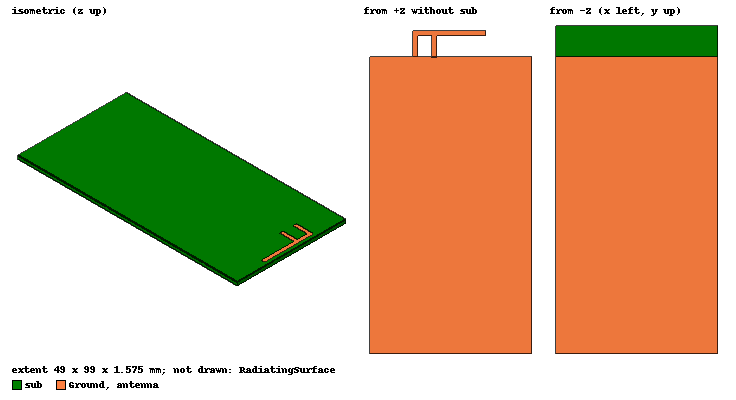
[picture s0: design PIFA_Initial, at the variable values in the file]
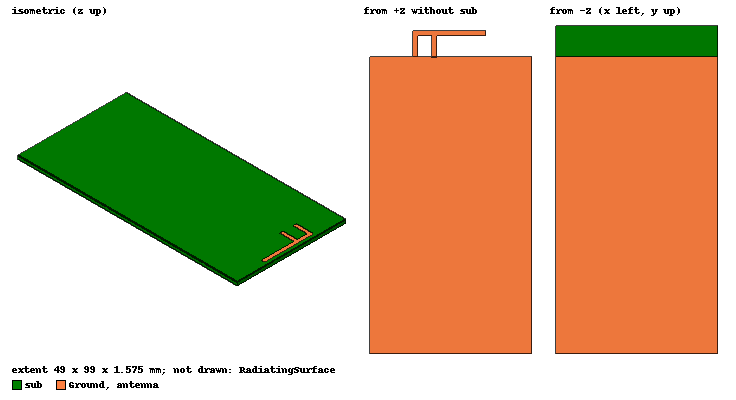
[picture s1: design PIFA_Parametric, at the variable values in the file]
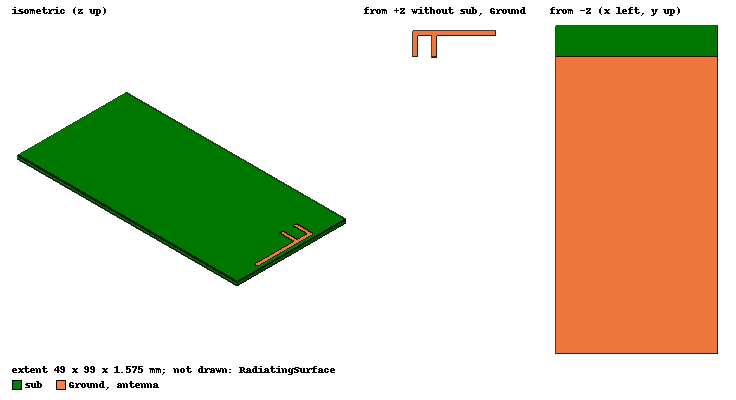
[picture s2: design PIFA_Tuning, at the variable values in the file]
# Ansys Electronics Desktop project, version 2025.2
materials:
  vacuum: permittivity=1
  Duroid (tm): permittivity=2.2 dielectric_loss_tangent=0.0009
  proje_substrat: permittivity=2.2

design PIFA_Initial (HFSS, HFSS Modal Network, model units mm)
options: Allow_Material_Override Save_Adaptive_support_files
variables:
  # --Antenna Dimensions
  Length1 = 2.214cm
  Length2 = 0.79cm
  Antenna_Trace_Width = 0.15cm
  Antenna_Offset = 0.44cm
  # --Substrate Dimensions
  subH = 0.1575cm
  subX = 4.9cm
  subY = 9.9cm
  # --Feed Dimensions
  Feed_Offset = -0.49cm
  Feed_Length = 0.015cm
  Feed_Width = 0.148cm
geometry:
  sub [proje_substrat] = box(corner=(-subX/2, -subY+Length2+Antenna_Trace_Width, 0mm), size=(subX, subY, -subH))
  Ground = rectangle(corner=(-subX/2, -subY+Length2+Antenna_Trace_Width, -subH), x_size=subX, y_size=subY-(Length2+Antenna_Trace_Width))
  NewObject_K5QUVR = rectangle(corner=(-Antenna_Trace_Width/2+Feed_Offset, 0mm, 0mm), x_size=Antenna_Trace_Width, y_size=Length2)
  NewObject_ARCBLV = rectangle(corner=(-Antenna_Trace_Width/2-Antenna_Offset+Feed_Offset, 0mm, 0mm), x_size=-Antenna_Trace_Width, y_size=Length2)
  NewObject_FZCV4E = rectangle(corner=(-Antenna_Trace_Width/2-Antenna_Offset+Feed_Offset, 0mm, 0mm), z_size=-subH, x_size=-Antenna_Trace_Width)
  antenna = rectangle(corner=(-Antenna_Trace_Width/2-Antenna_Offset-Antenna_Trace_Width+Feed_Offset, Length2, 0mm), x_size=Length1, y_size=-Antenna_Trace_Width)
  antenna.unite(NewObject_ARCBLV, NewObject_K5QUVR, NewObject_FZCV4E)
  microstrip_feed = rectangle(corner=(-Feed_Width/2+Feed_Offset, 0mm, 0mm), x_size=Feed_Width, y_size=-Feed_Length)
  RadiatingSurface [vacuum] = region(absolute_offset=41.666667mm on all sides)
  Port = rectangle(corner=(-Feed_Width/2+Feed_Offset, 0mm, 0mm), z_size=-subH, x_size=Feed_Width)
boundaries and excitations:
  PerfE1: Perfect E Objects=[antenna, Ground, microstrip_feed]
  Open1: Radiation Objects=RadiatingSurface
  1: Lumped Port Objects=Port LumpedPortType=Default Modes{Mode1{IntLine{(-4.9, 0, -1.575) -> (-4.9, 0, 0)} CharImp=Zpi RenormImp=50ohm}} Impedance=50ohm
  reference conductors: Ground
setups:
  Setup_Initial: HfssDriven Frequency=2.4GHz MaxDeltaS=0.02 MaximumPasses=15 MinimumPasses=1 MinimumConvergedPasses=1 PercentRefinement=30 BasisOrder=1 PortAccuracy=2 DrivenSolverType="Direct Solver"
    sweep Sweep: 1.2GHz to 3.6GHz, 401 points; Type=Interpolating InterpTolerance=0.5 InterpMaxSolns=250 InterpUsePortImped=false PassivityErrorTolerance=0.0001
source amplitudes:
  1:1: 1W 0deg
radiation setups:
  3D: Infinite Sphere Theta=0deg..180deg step 2deg Phi=-180deg..180deg step 2deg
  Elevation: Infinite Sphere Theta=-180deg..180deg step 1deg Phi=0deg..90deg step 90deg
  Azimuth: Infinite Sphere Theta=90deg..90deg step 0deg Phi=-180deg..180deg step 1deg
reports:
  S Parameter Plot1: dB(S(1,1)) vs Freq on Setup_Initial : Sweep; markers m1 at 2.736GHz
  Gain Plot1: dB(GainTotal) vs Phi, Theta on Setup_Initial : LastAdaptive, 3D [Freq=2.4GHz]

design PIFA_Parametric (HFSS, HFSS Modal Network, model units mm)
options: Allow_Material_Override Save_Adaptive_support_files
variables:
  # --Antenna Dimensions
  Length1 = 2.214cm
  Length2 = 0.79cm
  Antenna_Trace_Width = 0.15cm
  Antenna_Offset = 0.44cm
  # --Substrate Dimensions
  subH = 0.1575cm
  subX = 4.9cm
  subY = 9.9cm
  # --Feed Dimensions
  Feed_Offset = -0.49cm
  Feed_Length = 0.015cm
  Feed_Width = 0.148cm
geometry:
  sub [proje_substrat] = box(corner=(-subX/2, -subY+Length2+Antenna_Trace_Width, 0mm), size=(subX, subY, -subH))
  Ground = rectangle(corner=(-subX/2, -subY+Length2+Antenna_Trace_Width, -subH), x_size=subX, y_size=subY-(Length2+Antenna_Trace_Width))
  NewObject_K5QUVR = rectangle(corner=(-Antenna_Trace_Width/2+Feed_Offset, 0mm, 0mm), x_size=Antenna_Trace_Width, y_size=Length2)
  NewObject_ARCBLV = rectangle(corner=(-Antenna_Trace_Width/2-Antenna_Offset+Feed_Offset, 0mm, 0mm), x_size=-Antenna_Trace_Width, y_size=Length2)
  NewObject_FZCV4E = rectangle(corner=(-Antenna_Trace_Width/2-Antenna_Offset+Feed_Offset, 0mm, 0mm), z_size=-subH, x_size=-Antenna_Trace_Width)
  antenna = rectangle(corner=(-Antenna_Trace_Width/2-Antenna_Offset-Antenna_Trace_Width+Feed_Offset, Length2, 0mm), x_size=Length1, y_size=-Antenna_Trace_Width)
  antenna.unite(NewObject_ARCBLV, NewObject_K5QUVR, NewObject_FZCV4E)
  microstrip_feed = rectangle(corner=(-Feed_Width/2+Feed_Offset, 0mm, 0mm), x_size=Feed_Width, y_size=-Feed_Length)
  RadiatingSurface [vacuum] = region(absolute_offset=41.666667mm on all sides)
  Port = rectangle(corner=(-Feed_Width/2+Feed_Offset, 0mm, 0mm), z_size=-subH, x_size=Feed_Width)
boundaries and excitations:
  PerfE1: Perfect E Objects=[antenna, Ground, microstrip_feed]
  Open1: Radiation Objects=RadiatingSurface
  1: Lumped Port Objects=Port LumpedPortType=Modal Modes{Mode1{IntLine{(-4.9, 0, -1.575) -> (-4.9, 0, 0)} CharImp=Zpi RenormImp=50ohm}} Impedance=50ohm
  reference conductors: Ground
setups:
  Setup_Initial: HfssDriven Frequency=2.4GHz MaxDeltaS=0.02 MaximumPasses=15 MinimumPasses=1 MinimumConvergedPasses=1 PercentRefinement=30 BasisOrder=1 PortAccuracy=2 DrivenSolverType="Direct Solver"
    sweep Sweep: 1.2GHz to 3.6GHz, 401 points; Type=Interpolating InterpTolerance=0.5 InterpMaxSolns=250 InterpUsePortImped=false PassivityErrorTolerance=0.0001
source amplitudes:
  1:1: 1W 0deg
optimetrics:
  ParametricSetup1: Parametric Sim._Setups=[Setup_Initial]
    sweep Length1: LIN 2.2cm 2.8cm 0.05cm
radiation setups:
  3D: Infinite Sphere Theta=0deg..180deg step 2deg Phi=-180deg..180deg step 2deg
  Elevation: Infinite Sphere Theta=-180deg..180deg step 1deg Phi=0deg..90deg step 90deg
  Azimuth: Infinite Sphere Theta=90deg..90deg step 0deg Phi=-180deg..180deg step 1deg
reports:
  S Parameter Parametric: dB(S(1,1)) vs Freq on Setup_Initial : Sweep [Length1=all]; markers m1 at 2.37GHz

design PIFA_Tuning (HFSS, HFSS Modal Network, model units mm)
options: Allow_Material_Override Save_Adaptive_support_files
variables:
  # --Antenna Dimensions
  Length1 = 2.5239563cm  # optimise 1.107cm..3.321cm
  Length2 = 0.79cm
  Antenna_Trace_Width = 0.15cm
  Antenna_Offset = 0.44cm
  # --Substrate Dimensions
  subH = 0.1575cm
  subX = 4.9cm
  subY = 9.9cm
  # --Feed Dimensions
  Feed_Offset = -0.49cm
  Feed_Length = 0.015cm
  Feed_Width = 0.148cm
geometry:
  sub [proje_substrat] = box(corner=(-subX/2, -subY+Length2+Antenna_Trace_Width, 0mm), size=(subX, subY, -subH))
  Ground = rectangle(corner=(-subX/2, -subY+Length2+Antenna_Trace_Width, -subH), x_size=subX, y_size=subY-(Length2+Antenna_Trace_Width))
  NewObject_K5QUVR = rectangle(corner=(-Antenna_Trace_Width/2+Feed_Offset, 0mm, 0mm), x_size=Antenna_Trace_Width, y_size=Length2)
  NewObject_ARCBLV = rectangle(corner=(-Antenna_Trace_Width/2-Antenna_Offset+Feed_Offset, 0mm, 0mm), x_size=-Antenna_Trace_Width, y_size=Length2)
  NewObject_FZCV4E = rectangle(corner=(-Antenna_Trace_Width/2-Antenna_Offset+Feed_Offset, 0mm, 0mm), z_size=-subH, x_size=-Antenna_Trace_Width)
  antenna = rectangle(corner=(-Antenna_Trace_Width/2-Antenna_Offset-Antenna_Trace_Width+Feed_Offset, Length2, 0mm), x_size=Length1, y_size=-Antenna_Trace_Width)
  antenna.unite(NewObject_ARCBLV, NewObject_K5QUVR, NewObject_FZCV4E)
  microstrip_feed = rectangle(corner=(-Feed_Width/2+Feed_Offset, 0mm, 0mm), x_size=Feed_Width, y_size=-Feed_Length)
  RadiatingSurface [vacuum] = region(absolute_offset=41.666667mm on all sides)
  Port = rectangle(corner=(-Feed_Width/2+Feed_Offset, 0mm, 0mm), z_size=-subH, x_size=Feed_Width)
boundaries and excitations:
  PerfE1: Perfect E Objects=[antenna, Ground, microstrip_feed]
  Open1: Radiation Objects=RadiatingSurface
  1: Lumped Port Objects=Port LumpedPortType=Modal Modes{Mode1{IntLine{(-4.9, 0, -1.575) -> (-4.9, 0, 0)} CharImp=Zpi RenormImp=50ohm}} Impedance=50ohm
  reference conductors: Ground
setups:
  Setup_Tuning: HfssDriven Frequency=2.4GHz MaxDeltaS=0.02 MaximumPasses=15 MinimumPasses=1 MinimumConvergedPasses=1 PercentRefinement=30 BasisOrder=1 PortAccuracy=2 DrivenSolverType="Direct Solver" VariablesForDerivatives(Length1) VariableFlagsForDerivatives(1)
    sweep Sweep: 1.2GHz to 3.6GHz, 401 points; Type=Interpolating InterpTolerance=0.5 InterpMaxSolns=250 InterpUsePortImped=false PassivityErrorTolerance=0.0001
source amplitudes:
  1:1: 1W 0deg
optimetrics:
  ParametricSetup1: Parametric Sim._Setups=[Setup_Tuning]
    sweep Length1: LIN 2.2cm 2.8cm 0.05cm
  OptimizationSetup1: Optimization Optimizer=SNLP AnalysisStopOptions{StopForNumIteration MaxNumIteration=1000 MinNumIteration=10} CostFuncNormType=L2 Acceptable_Cost=0 Noise=0.0001 UpdateDesignWhenDone
    vary Length1: Min=2.2cm Max=2.8cm MinStep=0.02214cm MaxStep=0.2214cm MinFocus=2.2cm MaxFocus=2.8cm start=2.214cm
    goal dB(S(1,1)) <= -25 weight 1 on Setup_Tuning : Sweep at Freq 2.4GHz
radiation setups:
  3D: Infinite Sphere Theta=0deg..180deg step 2deg Phi=-180deg..180deg step 2deg
  Elevation: Infinite Sphere Theta=-180deg..180deg step 1deg Phi=0deg..90deg step 90deg
  Azimuth: Infinite Sphere Theta=90deg..90deg step 0deg Phi=-180deg..180deg step 1deg
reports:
  Tune S Parameter Plot1: dB(TuneS(1,1,Length1)) vs Freq on Setup_Tuning : Sweep [Length1=2.214cm]
  S Parameter Plot3: dB(S(1,1)) vs Freq on Setup_Tuning : Sweep [Length1=2.52396cm]; markers m1 at 2.394GHz
  Gain Plot2: dB(GainTotal) vs Phi, Theta on Setup_Tuning : LastAdaptive, 3D
